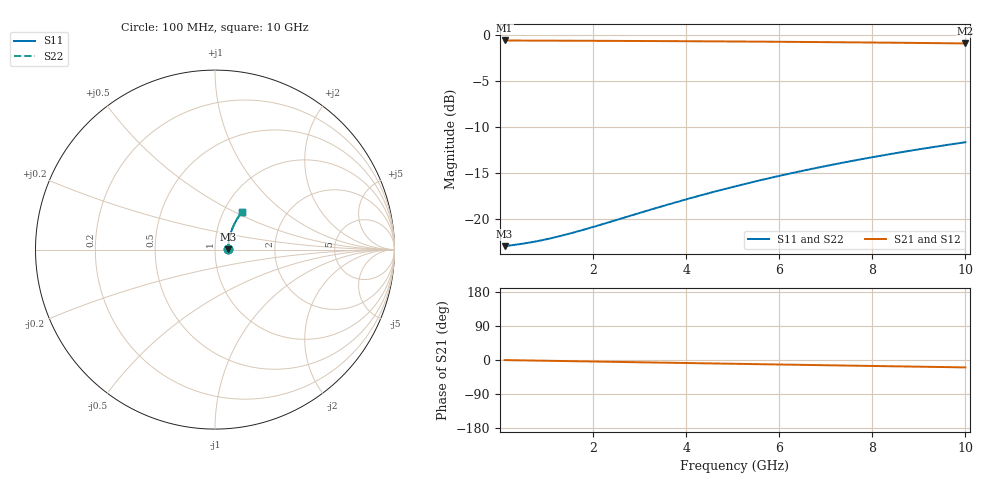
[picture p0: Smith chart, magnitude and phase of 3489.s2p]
# Hz S RI R 50.00
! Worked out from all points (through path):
!   100 points, 100 MHz to 10 GHz, reference 50 ohm
!   highest |S21| = -0.64 dB at 100 MHz (marker M1); lowest = -1.0 dB at 10 GHz (marker M2)
!   group delay of S21, straight-line fit = 5.43 ps
!   lowest |S11| = -23.0 dB at 100 MHz (marker M3), VSWR 1.15, Z = 57.7 + j0.275 ohm
!   |S11| at or under -10 dB: start of sweep to end of sweep
!   |S22| runs from -23.0 to -11.7 dB; largest |S21 - S12| = 0
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1e8  0.0711 0.00237  0.9289 -0.00324  0.9289 -0.00324  0.0711 0.00237
5e8  0.0725 0.0118  0.9275 -0.0162  0.9275 -0.0162  0.0725 0.0118
7e8  0.073 0.0165  0.9269 -0.0226  0.9269 -0.0226  0.073 0.0165
9e8  0.0736 0.0212  0.9264 -0.0291  0.9264 -0.0291  0.0736 0.0212
1.1e9  0.0742 0.0259  0.9258 -0.0355  0.9258 -0.0355  0.0742 0.0259
1.3e9  0.0748 0.0306  0.9251 -0.0419  0.9251 -0.0419  0.0748 0.0306
1.5e9  0.0754 0.0352  0.9245 -0.0484  0.9245 -0.0484  0.0754 0.0352
1.8e9  0.0765 0.0422  0.9234 -0.058  0.9234 -0.058  0.0765 0.0422
2.2e9  0.0781 0.0515  0.9217 -0.0707  0.9217 -0.0707  0.0781 0.0515
3.4e9  0.0842 0.0789  0.9153 -0.1086  0.9153 -0.1086  0.0842 0.0789
3.9e9  0.0874 0.0901  0.912 -0.1242  0.912 -0.1242  0.0874 0.0901
4.3e9  0.0901 0.099  0.9091 -0.1366  0.9091 -0.1366  0.0901 0.099
4.7e9  0.0931 0.1077  0.906 -0.1488  0.906 -0.1488  0.0931 0.1077
5.1e9  0.0964 0.1164  0.9026 -0.161  0.9026 -0.161  0.0964 0.1164
5.5e9  0.0998 0.125  0.8989 -0.1731  0.8989 -0.1731  0.0998 0.125
5.9e9  0.1035 0.1334  0.8951 -0.185  0.8951 -0.185  0.1035 0.1334
6.3e9  0.1074 0.1417  0.891 -0.1968  0.891 -0.1968  0.1074 0.1417
6.7e9  0.1115 0.1498  0.8867 -0.2085  0.8867 -0.2085  0.1115 0.1498
7.5e9  0.1202 0.1657  0.8775 -0.2314  0.8775 -0.2314  0.1202 0.1657
8.4e9  0.131 0.1829  0.8661 -0.2565  0.8661 -0.2565  0.131 0.1829
9.2e9  0.1414 0.1974  0.8552 -0.2781  0.8552 -0.2781  0.1414 0.1974
1e10  0.1524 0.2113  0.8436 -0.299  0.8436 -0.299  0.1524 0.2113
